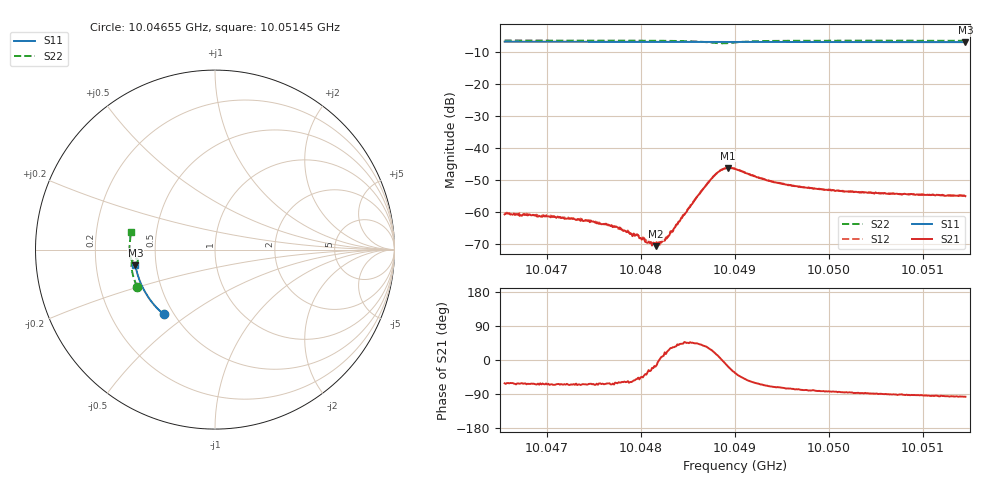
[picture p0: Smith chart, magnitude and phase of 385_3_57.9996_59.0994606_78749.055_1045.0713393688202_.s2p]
#  HZ  S  RI  R  50.00
! Rohde & Schwarz Vector Network Analyzer
! Rohde-Schwarz,ZNB20-2Port,1311601062101988,3.16
! Created: UTC 3/21/2024, 1:07:36 AM
! freq[Hz]  re:S11  im:S11  re:S21  im:S21  re:S12  im:S12  re:S22  im:S22
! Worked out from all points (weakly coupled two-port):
!   401 points, 10.04655 GHz to 10.05145 GHz, reference 50 ohm
!   highest |S21| = -46.20 dB at 10.04893 GHz (marker M1); lowest = -70.6 dB at 10.04816 GHz (marker M2)
!   lowest |S11| = -6.9 dB at 10.05145 GHz (marker M3), VSWR 2.65, Z = 19 - j4.19 ohm
!   |S11| at or under -10 dB: nowhere
!   |S22| runs from -7.3 to -6.4 dB; largest |S21 - S12| = 0.00036
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1.0046554e10  -0.2859 -0.3609  0.00044 -0.00081  0.000527 -0.000799  -0.4343 -0.2062
1.004702e10  -0.3087 -0.3403  0.000393 -0.000764  0.000448 -0.00075  -0.446 -0.1772
1.0047093e10  -0.3123 -0.3369  0.000349 -0.000761  0.000412 -0.00073  -0.4477 -0.1724
1.0047375e10  -0.3252 -0.3237  0.000327 -0.000694  0.000379 -0.000663  -0.4537 -0.154
1.0047644e10  -0.337 -0.3104  0.000301 -0.000561  0.000329 -0.000546  -0.4587 -0.1358
1.0047755e10  -0.3418 -0.3049  0.000277 -0.000508  0.0003 -0.000469  -0.4605 -0.1283
1.0047914e10  -0.3484 -0.2967  0.000233 -0.000351  0.000314 -0.000378  -0.4627 -0.1169
1.0047951e10  -0.35 -0.2949  0.000276 -0.000339  0.000292 -0.000326  -0.4632 -0.1141
1.0048073e10  -0.3549 -0.2885  0.000279 -0.000178  0.00029 -0.000166  -0.4646 -0.1051
1.0048159e10  -0.3583 -0.284  0.000281 -8.78e-05  0.000311 -4.49e-05  -0.4652 -0.0984
1.0048195e10  -0.3599 -0.2821  0.000338 -4.37e-06  0.000293 -1.6e-05  -0.4653 -0.0954
1.0048281e10  -0.3632 -0.2775  0.000363 0.000145  0.000379 0.000162  -0.4657 -0.0884
1.00486e10  -0.3749 -0.2599  0.00126 0.00121  0.00117 0.00129  -0.4587 -0.0592
1.0048746e10  -0.3799 -0.2519  0.00289 0.00149  0.00281 0.00167  -0.4437 -0.049
1.0048844e10  -0.3831 -0.2464  0.00442 0.000407  0.0044 0.000708  -0.4313 -0.0551
1.004893e10  -0.386 -0.2418  0.00467 -0.00147  0.00481 -0.00115  -0.4316 -0.068
1.0049004e10  -0.3884 -0.2378  0.00392 -0.00266  0.00411 -0.00245  -0.4412 -0.0738
1.0049408e10  -0.4013 -0.2145  0.000998 -0.0028  0.00116 -0.00277  -0.471 -0.0448
1.0049824e10  -0.413 -0.1895  0.000415 -0.00233  0.000532 -0.0023  -0.4761 -0.012
1.0050179e10  -0.4216 -0.168  0.000178 -0.0021  0.000303 -0.0021  -0.4764 0.0136
1.0050645e10  -0.4312 -0.1391  -3.15e-05 -0.00192  8.82e-05 -0.00196  -0.4744 0.0456
1.0051453e10  -0.4434 -0.0876  -0.000214 -0.00177  -0.000149 -0.0018  -0.4658 0.099
